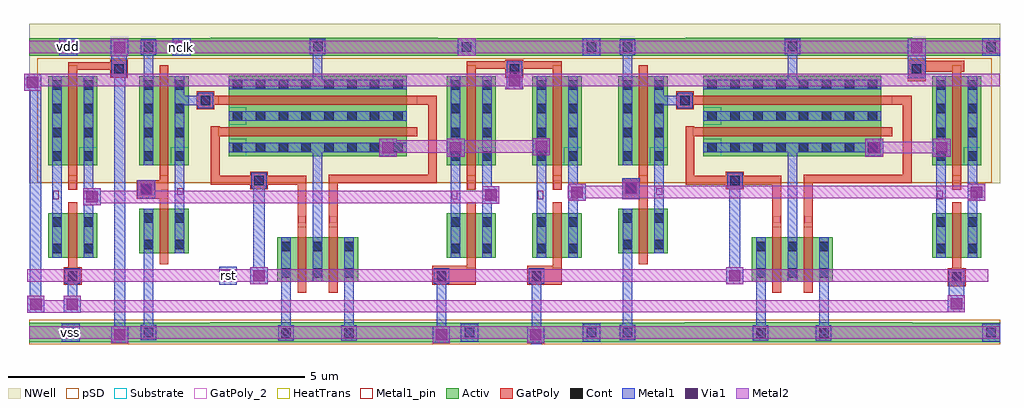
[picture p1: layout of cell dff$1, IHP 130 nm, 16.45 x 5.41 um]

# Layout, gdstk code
from math import pi, radians
import gdstk
lib = gdstk.Library(unit=1e-6, precision=5e-09)
def R(c, l, rs):  # rectangles x0, y0, x1, y1
    for r in rs: c.add(gdstk.rectangle(r[:2], r[2:], *l))
def A(c, l, x, y, w, h, nx, ny, dx, dy):  # array of equal rectangles
    R(c, l, [(x+i*dx, y+j*dy, x+i*dx+w, y+j*dy+h) for i in range(nx) for j in range(ny)])
def P(c, l, *ps):  # polygons
    for p in ps: c.add(gdstk.Polygon(p, *l))
Activ = (1, 0)
GatPoly = (5, 0)
GatPoly_2 = (5, 2)
Cont = (6, 0)
Metal1 = (8, 0)
Metal1_pin = (8, 2)
Metal2 = (10, 0)
pSD = (14, 0)
Via1 = (19, 0)
NWell = (31, 0)
Substrate = (40, 0)
HeatTrans = (51, 0)

nmos_5_2_1 = lib.new_cell('nmos$5$2$1')
R(nmos_5_2_1, Activ, [(0,0,0.3,0.3), (0,0,0.83,0.75), (0.53,0,0.83,0.3)])
R(nmos_5_2_1, GatPoly, [(0.34,-0.18,0.49,0.93)])
R(nmos_5_2_1, GatPoly_2, [(0.34,-0.18,0.49,0.93)])
R(nmos_5_2_1, Cont, [(0.07,0.07,0.23,0.23), (0.6,0.07,0.76,0.23), (0.07,0.52,0.23,0.68), (0.6,0.52,0.76,0.68)])
R(nmos_5_2_1, Metal1, [(0.07,0,0.23,0.75), (0.6,0,0.76,0.75)])
R(nmos_5_2_1, Metal1_pin, [(0.07,0,0.23,0.75), (0.6,0,0.76,0.75)])
R(nmos_5_2_1, HeatTrans, [(0.34,-0.18,0.49,0.93)])
nmos_5_2_1.add(gdstk.Label('nmos', (0.415,0.375), layer=63, texttype=0))
nmos_5_2_1.add(gdstk.Label('nmos', (0.415,0.375), layer=51, texttype=0))

pmos_5_1_1 = lib.new_cell('pmos$5$1$1')
R(pmos_5_1_1, Activ, [(0,0,0.3,0.3), (0,0,0.83,3), (0.53,0,0.83,0.3)])
R(pmos_5_1_1, GatPoly, [(0.34,-0.18,0.49,3.18), (0.34,-0.18,0.49,3.18)])
A(pmos_5_1_1, Cont, 0.07, 0.07, 0.16, 0.16, 1, 7, 0, 0.385)
A(pmos_5_1_1, Cont, 0.6, 0.07, 0.16, 0.16, 1, 7, 0, 0.385)
R(pmos_5_1_1, Cont, [(0.07,2.77,0.23,2.93), (0.6,2.77,0.76,2.93)])
R(pmos_5_1_1, Metal1, [(0.07,0,0.23,3), (0.07,0,0.23,3), (0.6,0,0.76,3), (0.6,0,0.76,3)])
R(pmos_5_1_1, pSD, [(-0.18,-0.3,1.01,3.3)])
R(pmos_5_1_1, NWell, [(-0.31,-0.31,1.14,3.31)])
R(pmos_5_1_1, Substrate, [(0.53,0,0.83,0.3)])
R(pmos_5_1_1, HeatTrans, [(0.34,-0.18,0.49,3.18)])
pmos_5_1_1.add(gdstk.Label('pmos', (0.415,1.5), layer=63, texttype=0))
pmos_5_1_1.add(gdstk.Label('pmos', (0.415,1.5), layer=51, texttype=0))

norgate_1_1 = lib.new_cell('norgate$1$1')
R(norgate_1_1, Activ, [(-1.48,-2.5,2.355,-2.17), (-1.47,2.325,2.355,2.625)])
R(norgate_1_1, GatPoly, [(-0.01,-0.56,0.14,0.15), (0.52,-0.56,0.67,0.17), (-1.47,0.15,0.14,0.3), (0.52,0.17,2.19,0.32), (2.19,0.17,2.34,1.645), (-1.47,0.3,-1.32,1.135), (-1.47,0.965,-1.35,1.135), (2.01,1.495,2.19,1.645)])
R(norgate_1_1, GatPoly_2, [(0.005,-0.49,0.13,-0.38), (0.535,-0.49,0.66,-0.38)])
R(norgate_1_1, Cont, [(-0.28,-2.43,-0.12,-2.27), (-0.28,-2.43,-0.12,-2.27), (0.78,-2.43,0.94,-2.27), (0.78,-2.43,0.94,-2.27), (0.255,2.395,0.415,2.555)])
R(norgate_1_1, Metal1, [(-0.335,-2.48,-0.075,-2.22), (0.725,-2.48,0.985,-2.22), (-0.28,-2.43,-0.12,-0.74), (0.78,-2.43,0.94,-0.74), (0.25,-0.74,0.41,0.695), (0.25,1.915,0.41,2.345), (0.2,2.345,0.46,2.605)])
R(norgate_1_1, Metal1_pin, [(-0.25,-2.39,-0.17,-2.3), (0.81,-2.39,0.89,-2.3), (0.255,2.395,0.415,2.555)])
R(norgate_1_1, pSD, [(-1.48,-2.54,2.355,-2.125)])
R(norgate_1_1, NWell, [(-1.47,0.315,2.355,2.865), (-1.47,2.295,2.355,2.865)])
norgate_1_1.add(gdstk.Reference(nmos_5_2_1, (1.01,-0.74), rotation=pi))
norgate_1_1.add(gdstk.Reference(nmos_5_2_1, (-0.35,-1.49)))
norgate_1_1.add(gdstk.Reference(pmos_5_1_1, (-1.17,1.985), rotation=3*pi/2))
norgate_1_1.add(gdstk.Reference(pmos_5_1_1, (-1.17,1.455), rotation=3*pi/2))
norgate_1_1.add(gdstk.Label('vdd', (0.325,2.5), layer=8, texttype=2))
norgate_1_1.add(gdstk.Label('vss', (-0.22,-2.335), layer=8, texttype=2))
norgate_1_1.add(gdstk.Label('vss', (0.84,-2.335), layer=8, texttype=2))
norgate_1_1.add(gdstk.Label('b', (0.07,-0.44), layer=5, texttype=2))
norgate_1_1.add(gdstk.Label('a', (0.6,-0.44), layer=5, texttype=2))

nmos_1_3 = lib.new_cell('nmos$1$3')
R(nmos_1_3, Activ, [(0,0,0.3,0.3), (0,0,0.83,0.75), (0.53,0,0.83,0.3)])
R(nmos_1_3, GatPoly, [(0.34,-0.18,0.49,0.93)])
R(nmos_1_3, GatPoly_2, [(0.34,-0.18,0.49,0.93)])
R(nmos_1_3, Cont, [(0.07,0.07,0.23,0.23), (0.6,0.07,0.76,0.23), (0.07,0.52,0.23,0.68), (0.6,0.52,0.76,0.68)])
R(nmos_1_3, Metal1, [(0.07,0,0.23,0.75), (0.6,0,0.76,0.75)])
R(nmos_1_3, Metal1_pin, [(0.07,0,0.23,0.75), (0.6,0,0.76,0.75)])
R(nmos_1_3, HeatTrans, [(0.34,-0.18,0.49,0.93)])
nmos_1_3.add(gdstk.Label('nmos', (0.415,0.375), layer=63, texttype=0))
nmos_1_3.add(gdstk.Label('nmos', (0.415,0.375), layer=51, texttype=0))

pmos_2_1 = lib.new_cell('pmos$2$1')
R(pmos_2_1, Activ, [(0,0,0.3,0.3), (0,0,0.83,1.5), (0.53,0,0.83,0.3)])
R(pmos_2_1, GatPoly, [(0.34,-0.18,0.49,1.68), (0.34,-0.18,0.49,1.68)])
A(pmos_2_1, Cont, 0.07, 0.07, 0.16, 0.16, 1, 4, 0, 0.4)
A(pmos_2_1, Cont, 0.6, 0.07, 0.16, 0.16, 1, 4, 0, 0.4)
R(pmos_2_1, Metal1, [(0.07,0,0.23,1.5), (0.07,0,0.23,1.5), (0.6,0,0.76,1.5), (0.6,0,0.76,1.5)])
R(pmos_2_1, pSD, [(-0.18,-0.3,1.01,1.8)])
R(pmos_2_1, NWell, [(-0.31,-0.31,1.14,1.81)])
R(pmos_2_1, Substrate, [(0.53,0,0.83,0.3)])
R(pmos_2_1, HeatTrans, [(0.34,-0.18,0.49,1.68)])
pmos_2_1.add(gdstk.Label('pmos', (0.415,0.75), layer=63, texttype=0))
pmos_2_1.add(gdstk.Label('pmos', (0.415,0.75), layer=51, texttype=0))

inverter_1_1 = lib.new_cell('inverter$1$1')
R(inverter_1_1, Activ, [(-0.925,-2.62,0.525,-2.29), (-0.925,2.205,0.525,2.505)])
R(inverter_1_1, GatPoly, [(-0.275,-0.195,-0.125,0.185)])
R(inverter_1_1, GatPoly_2, [(-0.25,-0.14,-0.155,-0.04)])
R(inverter_1_1, Cont, [(-0.545,-2.535,-0.385,-2.375), (-0.545,-2.535,-0.385,-2.375), (-0.545,2.275,-0.385,2.435)])
R(inverter_1_1, Metal1, [(-0.595,-2.585,-0.335,-2.325), (-0.545,-2.325,-0.385,-0.845), (-0.015,-0.375,0.145,0.365), (-0.545,1.865,-0.385,2.275), (-0.595,2.225,-0.335,2.485)])
R(inverter_1_1, Metal1_pin, [(0.02,-0.135,0.12,-0.03)])
R(inverter_1_1, pSD, [(-0.925,-2.66,0.525,-2.245)])
R(inverter_1_1, NWell, [(-0.925,2.175,0.525,2.745)])
inverter_1_1.add(gdstk.Reference(nmos_1_3, (-0.615,-1.125)))
inverter_1_1.add(gdstk.Reference(pmos_2_1, (-0.615,0.365)))
inverter_1_1.add(gdstk.Label('vss', (-0.475,-2.43), layer=8, texttype=2))
inverter_1_1.add(gdstk.Label('vdd', (-0.465,2.355), layer=8, texttype=2))
inverter_1_1.add(gdstk.Label('out', (0.06,-0.09), layer=8, texttype=2))
inverter_1_1.add(gdstk.Label('in', (-0.205,-0.09), layer=5, texttype=2))

nmos_5_3_1 = lib.new_cell('nmos$5$3$1')
R(nmos_5_3_1, Activ, [(0,0,0.3,0.3), (0,0,0.83,0.75), (0.53,0,0.83,0.3)])
R(nmos_5_3_1, GatPoly, [(0.34,-0.18,0.49,0.93)])
R(nmos_5_3_1, GatPoly_2, [(0.34,-0.18,0.49,0.93)])
R(nmos_5_3_1, Cont, [(0.07,0.07,0.23,0.23), (0.6,0.07,0.76,0.23), (0.07,0.52,0.23,0.68), (0.6,0.52,0.76,0.68)])
R(nmos_5_3_1, Metal1, [(0.07,0,0.23,0.75), (0.6,0,0.76,0.75)])
R(nmos_5_3_1, Metal1_pin, [(0.07,0,0.23,0.75), (0.6,0,0.76,0.75)])
R(nmos_5_3_1, HeatTrans, [(0.34,-0.18,0.49,0.93)])
nmos_5_3_1.add(gdstk.Label('nmos', (0.415,0.375), layer=63, texttype=0))
nmos_5_3_1.add(gdstk.Label('nmos', (0.415,0.375), layer=51, texttype=0))

pmos_3_1 = lib.new_cell('pmos$3$1')
R(pmos_3_1, Activ, [(0,0,0.3,0.3), (0,0,0.83,1.5), (0.53,0,0.83,0.3)])
R(pmos_3_1, GatPoly, [(0.34,-0.18,0.49,1.68), (0.34,-0.18,0.49,1.68)])
A(pmos_3_1, Cont, 0.07, 0.07, 0.16, 0.16, 1, 4, 0, 0.4)
A(pmos_3_1, Cont, 0.6, 0.07, 0.16, 0.16, 1, 4, 0, 0.4)
R(pmos_3_1, Metal1, [(0.07,0,0.23,1.5), (0.07,0,0.23,1.5), (0.6,0,0.76,1.5), (0.6,0,0.76,1.5)])
R(pmos_3_1, pSD, [(-0.18,-0.3,1.01,1.8)])
R(pmos_3_1, NWell, [(-0.31,-0.31,1.14,1.81)])
R(pmos_3_1, Substrate, [(0.53,0,0.83,0.3)])
R(pmos_3_1, HeatTrans, [(0.34,-0.18,0.49,1.68)])
pmos_3_1.add(gdstk.Label('pmos', (0.415,0.75), layer=63, texttype=0))
pmos_3_1.add(gdstk.Label('pmos', (0.415,0.75), layer=51, texttype=0))

transmissiongate_1_1 = lib.new_cell('transmissiongate$1$1')
R(transmissiongate_1_1, Activ, [(2.295,-2.62,3.745,-2.29), (2.315,2.205,3.745,2.505)])
R(transmissiongate_1_1, GatPoly, [(2.945,-0.055,3.095,0.185)])
R(transmissiongate_1_1, GatPoly_2, [(2.98,-0.43,3.09,-0.27), (2.96,-0.055,3.08,0.105)])
R(transmissiongate_1_1, Cont, [(2.91,-2.54,3.07,-2.38), (2.86,2.275,3.02,2.435)])
R(transmissiongate_1_1, Metal1, [(2.91,-2.54,3.07,-2.38), (2.91,-2.54,3.07,-2.38), (2.675,-0.445,2.835,-0.21), (3.205,-0.445,3.365,-0.21), (2.675,-0.21,2.835,0.365), (3.205,-0.21,3.365,0.365), (2.86,2.275,3.02,2.435)])
R(transmissiongate_1_1, Metal1_pin, [(2.91,-2.54,3.07,-2.38), (2.69,-0.21,2.785,-0.07), (3.205,-0.21,3.365,-0.07), (2.86,2.275,3.02,2.435)])
R(transmissiongate_1_1, pSD, [(2.295,-2.66,3.745,-2.245)])
R(transmissiongate_1_1, NWell, [(2.295,2.175,3.745,2.745)])
transmissiongate_1_1.add(gdstk.Reference(nmos_5_3_1, (2.605,-1.195)))
transmissiongate_1_1.add(gdstk.Reference(pmos_3_1, (2.605,0.365)))
transmissiongate_1_1.add(gdstk.Label('vdd', (2.93,2.38), layer=8, texttype=2))
transmissiongate_1_1.add(gdstk.Label('vss', (2.985,-2.46), layer=8, texttype=2))
transmissiongate_1_1.add(gdstk.Label('out', (3.285,-0.14), layer=8, texttype=2))
transmissiongate_1_1.add(gdstk.Label('in', (2.73,-0.14), layer=8, texttype=2))
transmissiongate_1_1.add(gdstk.Label('en', (3.015,-0.355), layer=5, texttype=2))
transmissiongate_1_1.add(gdstk.Label('noten', (3.025,0.02), layer=5, texttype=2))

nmos_5_4 = lib.new_cell('nmos$5$4')
R(nmos_5_4, Activ, [(0,0,0.3,0.3), (0,0,0.83,0.75), (0.53,0,0.83,0.3)])
R(nmos_5_4, GatPoly, [(0.34,-0.18,0.49,0.93)])
R(nmos_5_4, GatPoly_2, [(0.34,-0.18,0.49,0.93)])
R(nmos_5_4, Cont, [(0.07,0.07,0.23,0.23), (0.6,0.07,0.76,0.23), (0.07,0.52,0.23,0.68), (0.6,0.52,0.76,0.68)])
R(nmos_5_4, Metal1, [(0.07,0,0.23,0.75), (0.6,0,0.76,0.75)])
R(nmos_5_4, Metal1_pin, [(0.07,0,0.23,0.75), (0.6,0,0.76,0.75)])
R(nmos_5_4, HeatTrans, [(0.34,-0.18,0.49,0.93)])
nmos_5_4.add(gdstk.Label('nmos', (0.415,0.375), layer=63, texttype=0))
nmos_5_4.add(gdstk.Label('nmos', (0.415,0.375), layer=51, texttype=0))

pmos_6 = lib.new_cell('pmos$6')
R(pmos_6, Activ, [(0,0,0.3,0.3), (0,0,0.83,1.5), (0.53,0,0.83,0.3)])
R(pmos_6, GatPoly, [(0.34,-0.18,0.49,1.68), (0.34,-0.18,0.49,1.68)])
A(pmos_6, Cont, 0.07, 0.07, 0.16, 0.16, 1, 4, 0, 0.4)
A(pmos_6, Cont, 0.6, 0.07, 0.16, 0.16, 1, 4, 0, 0.4)
R(pmos_6, Metal1, [(0.07,0,0.23,1.5), (0.07,0,0.23,1.5), (0.6,0,0.76,1.5), (0.6,0,0.76,1.5)])
R(pmos_6, pSD, [(-0.18,-0.3,1.01,1.8)])
R(pmos_6, NWell, [(-0.31,-0.31,1.14,1.81)])
R(pmos_6, Substrate, [(0.53,0,0.83,0.3)])
R(pmos_6, HeatTrans, [(0.34,-0.18,0.49,1.68)])
pmos_6.add(gdstk.Label('pmos', (0.415,0.75), layer=63, texttype=0))
pmos_6.add(gdstk.Label('pmos', (0.415,0.75), layer=51, texttype=0))

transmissiongate_2 = lib.new_cell('transmissiongate$2')
R(transmissiongate_2, Activ, [(2.295,-2.62,3.745,-2.29), (2.315,2.205,3.745,2.505)])
R(transmissiongate_2, GatPoly, [(2.945,-0.055,3.095,0.185)])
R(transmissiongate_2, GatPoly_2, [(2.98,-0.43,3.09,-0.27), (2.96,-0.055,3.08,0.105)])
R(transmissiongate_2, Cont, [(3.52,-2.54,3.68,-2.38), (3.52,2.275,3.68,2.435)])
R(transmissiongate_2, Metal1, [(3.52,-2.54,3.68,-2.38), (3.52,-2.54,3.68,-2.38), (2.675,-0.445,2.835,-0.21), (3.205,-0.445,3.365,-0.21), (2.675,-0.21,2.835,0.365), (3.205,-0.21,3.365,0.365), (3.52,2.275,3.68,2.435)])
R(transmissiongate_2, Metal1_pin, [(3.52,-2.54,3.68,-2.38), (2.69,-0.21,2.785,-0.07), (3.205,-0.21,3.365,-0.07), (3.52,2.275,3.68,2.435)])
R(transmissiongate_2, pSD, [(2.295,-2.66,3.745,-2.245)])
R(transmissiongate_2, NWell, [(2.295,2.175,3.745,2.745)])
transmissiongate_2.add(gdstk.Reference(nmos_5_4, (2.605,-1.195)))
transmissiongate_2.add(gdstk.Reference(pmos_6, (2.605,0.365)))
transmissiongate_2.add(gdstk.Label('vdd', (3.59,2.38), layer=8, texttype=2))
transmissiongate_2.add(gdstk.Label('vss', (3.595,-2.46), layer=8, texttype=2))
transmissiongate_2.add(gdstk.Label('out', (3.285,-0.14), layer=8, texttype=2))
transmissiongate_2.add(gdstk.Label('in', (2.73,-0.14), layer=8, texttype=2))
transmissiongate_2.add(gdstk.Label('en', (3.015,-0.355), layer=5, texttype=2))
transmissiongate_2.add(gdstk.Label('noten', (3.025,0.02), layer=5, texttype=2))

dff_1 = lib.new_cell('dff$1')
R(dff_1, Activ, [(2.745,-2.62,19.105,-2.29), (2.745,2.205,19.105,2.505)])
R(dff_1, GatPoly, [(18.225,-1.675,18.525,-1.375), (3.325,-1.655,3.625,-1.355), (9.54,-1.655,10.27,-1.33), (11.14,-1.655,11.715,-1.33), (4.555,-0.2,4.94,0.105), (12.735,-0.195,13.015,0.145), (6.465,-0.045,6.765,0.255), (14.485,-0.045,14.785,0.255), (5.565,1.305,5.865,1.605), (13.645,1.305,13.945,1.605), (5.865,1.38,5.925,1.53), (13.685,1.38,13.925,1.53), (17.55,1.78,17.85,2.135), (4.105,1.835,4.405,2.135), (10.77,1.835,11.07,2.135), (17.65,1.935,18.275,2.125), (18.275,1.935,18.5,2.125), (3.4,1.97,4.14,2.1), (10.12,1.985,10.77,2.115), (11.07,1.985,11.715,2.115)])
P(dff_1, GatPoly, [(10.2,-1.585),(10.2,-1.375),(10.2,-1.375),(10.2,-1.585)])
R(dff_1, Cont, [(3.365,-2.54,3.525,-2.38), (3.365,-2.54,3.525,-2.38), (3.365,-2.54,3.525,-2.38), (3.365,-2.54,3.525,-2.38), (18.295,-1.605,18.455,-1.445), (3.395,-1.585,3.555,-1.425), (9.61,-1.585,9.77,-1.425), (11.21,-1.585,11.37,-1.425), (4.635,-0.125,4.795,0.035), (12.805,-0.105,12.965,0.055), (6.535,0.025,6.695,0.185), (14.555,0.025,14.715,0.185), (5.635,1.375,5.795,1.535), (13.715,1.375,13.875,1.535), (17.62,1.9,17.78,2.06), (4.175,1.905,4.335,2.065), (10.84,1.905,11,2.065)])
R(dff_1, Metal1, [(11.21,-2.66,11.37,-1.405), (4.125,-2.64,4.415,-2.35), (9.545,-2.64,9.835,-2.35), (11.135,-2.64,11.425,-2.35), (3.295,-2.61,3.595,-2.31), (10.015,-2.61,10.315,-2.31), (12.07,-2.61,12.37,-2.31), (18.805,-2.61,19.105,-2.31), (3.365,-2.54,3.525,-2.38), (3.365,-2.54,3.525,-2.38), (3.365,-2.54,3.525,-2.38), (3.365,-2.54,3.525,-2.38), (3.365,-2.54,3.525,-2.38), (3.365,-2.54,3.525,-2.38), (3.365,-2.54,3.525,-2.38), (3.365,-2.54,3.525,-2.38), (4.175,-2.35,4.365,2.33), (9.61,-2.35,9.77,-1.375), (2.71,-2.125,3,-1.835), (3.325,-2.125,3.615,-1.835), (18.225,-2.12,18.515,-1.83), (2.755,-1.835,2.945,1.615), (3.395,-1.835,3.555,-1.405), (18.245,-1.83,18.505,-1.395), (5.945,-1.65,6.245,-1.35), (6.47,-1.645,6.76,-1.355), (14.49,-1.645,14.78,-1.355), (3.345,-1.635,3.605,-1.375), (9.56,-1.635,9.82,-1.375), (11.16,-1.635,11.42,-1.375), (5.98,-1.605,6.21,-1.395), (5.98,-1.605,6.215,-1.395), (6.52,-1.595,6.71,-0.025), (14.54,-1.595,14.73,0.185), (3.655,-0.315,3.945,-0.025), (10.375,-0.285,10.665,0.005), (11.83,-0.24,12.12,0.05), (18.565,-0.24,18.855,0.05), (4.565,-0.195,4.865,0.105), (12.735,-0.195,13.035,0.145), (12.805,-0.105,12.965,0.055), (6.485,-0.025,6.745,0.235), (14.505,-0.025,14.765,0.235), (8.64,0.505,8.94,0.805), (9.78,0.505,10.08,0.805), (16.835,0.505,17.135,0.805), (17.975,0.505,18.275,0.805), (11.23,0.53,11.52,0.82), (5.585,1.325,5.845,1.585), (13.665,1.325,13.925,1.585), (5.195,1.375,5.795,1.535), (13.275,1.375,13.875,1.535), (2.655,1.615,2.945,1.905), (10.79,1.64,11.05,2.115), (10.84,1.72,11,2.065), (17.55,1.83,17.85,2.195), (4.125,1.855,4.385,2.2), (4.16,1.885,4.345,2.115), (17.62,1.9,17.78,2.06), (17.55,2.195,17.85,2.495), (4.12,2.2,4.41,2.49), (3.25,2.205,3.55,2.505), (5.165,2.205,5.465,2.505), (9.965,2.205,10.265,2.505), (12.07,2.205,12.37,2.505), (18.805,2.205,19.105,2.505)])
R(dff_1, Metal1_pin, [(3.365,-2.54,3.525,-2.38), (3.365,-2.54,3.525,-2.38), (3.365,-2.54,3.525,-2.38), (3.365,-2.54,3.525,-2.38), (5.98,-1.605,6.21,-1.395), (5.2,2.25,5.43,2.46), (3.315,2.275,3.475,2.435)])
R(dff_1, Metal2, [(4.125,-2.64,4.415,-2.35), (9.545,-2.64,9.835,-2.35), (11.135,-2.64,11.425,-2.35), (2.745,-2.56,19.1,-2.35), (2.71,-2.125,3,-1.835), (3,-2.125,3.325,-1.915), (3.325,-2.125,3.615,-1.835), (3.615,-2.12,18.225,-1.915), (18.225,-2.12,18.515,-1.83), (6.47,-1.645,6.76,-1.355), (14.49,-1.645,14.78,-1.355), (2.71,-1.605,18.905,-1.395), (3.655,-0.315,3.945,-0.025), (10.375,-0.285,10.665,0.005), (3.655,-0.28,10.545,-0.07), (11.83,-0.24,12.12,0.05), (18.565,-0.24,18.855,0.05), (12.735,-0.215,13.035,0.085), (11.82,-0.195,18.705,0.015), (4.57,-0.19,4.86,0.1), (8.64,0.505,8.94,0.805), (9.78,0.505,10.08,0.805), (16.835,0.505,17.135,0.805), (17.975,0.505,18.275,0.805), (11.23,0.53,11.52,0.82), (16.9,0.56,18.205,0.76), (8.685,0.57,11.23,0.78), (2.655,1.615,2.945,1.905), (10.77,1.64,11.07,1.94), (2.945,1.695,19.1,1.905), (17.55,2.195,17.85,2.495), (4.12,2.2,4.41,2.49), (9.965,2.205,10.265,2.505), (2.745,2.25,19.105,2.46)])
R(dff_1, pSD, [(2.745,-2.66,19.105,-2.245), (2.88,0.065,18.97,2.165)])
R(dff_1, Via1, [(4.175,-2.59,4.365,-2.4), (9.595,-2.59,9.785,-2.4), (11.185,-2.59,11.375,-2.4), (2.76,-2.075,2.95,-1.885), (3.375,-2.075,3.565,-1.885), (18.275,-2.07,18.465,-1.88), (6.005,-1.595,6.195,-1.405), (6.52,-1.595,6.71,-1.405), (14.54,-1.595,14.73,-1.405), (3.705,-0.265,3.895,-0.075), (10.43,-0.235,10.62,-0.045), (11.88,-0.19,12.07,0), (18.615,-0.19,18.805,0), (4.62,-0.14,4.81,0.05), (12.79,-0.12,12.98,0.07), (8.695,0.56,8.885,0.75), (9.835,0.56,10.025,0.75), (16.89,0.56,17.08,0.75), (18.03,0.56,18.22,0.75), (9.85,0.575,10.01,0.735), (11.28,0.58,11.47,0.77), (2.705,1.665,2.895,1.855), (10.825,1.695,11.015,1.885), (4.17,2.25,4.36,2.44), (17.605,2.25,17.795,2.44), (5.225,2.26,5.415,2.45)])
R(dff_1, NWell, [(2.745,0.055,19.105,2.75), (2.745,2.205,19.105,2.745)])
dff_1.add(gdstk.Reference(norgate_1_1, (7.275,-0.115)))
dff_1.add(gdstk.Reference(inverter_1_1, (5.215,0)))
dff_1.add(gdstk.Reference(norgate_1_1, (15.275,-0.115)))
dff_1.add(gdstk.Reference(inverter_1_1, (13.29,0)))
dff_1.add(gdstk.Reference(transmissiongate_1_1, (0.455,0)))
dff_1.add(gdstk.Reference(transmissiongate_1_1, (7.175,0)))
dff_1.add(gdstk.Reference(transmissiongate_2, (8.62,0)))
dff_1.add(gdstk.Reference(transmissiongate_2, (15.355,0)))
dff_1.add(gdstk.Label('vdd', (3.41,2.355), layer=8, texttype=2))
dff_1.add(gdstk.Label('vss', (3.44,-2.46), layer=8, texttype=2))
dff_1.add(gdstk.Label('vss', (3.44,-2.46), layer=8, texttype=2))
dff_1.add(gdstk.Label('vss', (3.44,-2.46), layer=8, texttype=2))
dff_1.add(gdstk.Label('vss', (3.44,-2.46), layer=8, texttype=2))
dff_1.add(gdstk.Label('rst', (6.095,-1.5), layer=8, texttype=2))
dff_1.add(gdstk.Label('nclk', (5.315,2.34), layer=8, texttype=2))

lib.write_gds('dff_1.gds')
